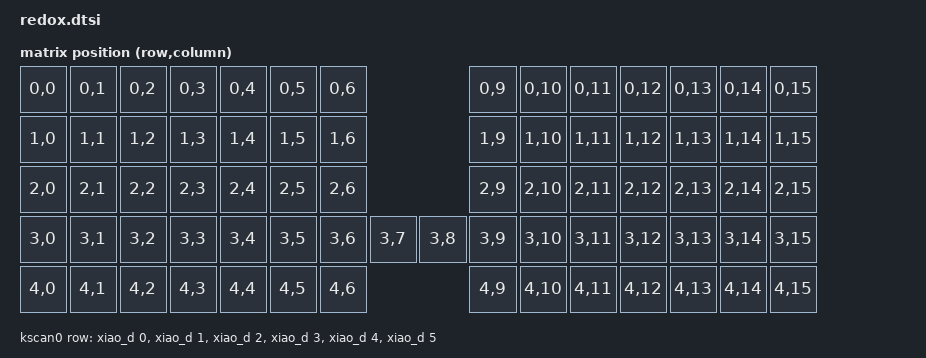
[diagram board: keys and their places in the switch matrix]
#include <dt-bindings/zmk/matrix_transform.h>
#include "redox-layouts.dtsi"

&physical_layout0 {
    transform = <&default_transform>;
};

/ {
    chosen {
        zmk,kscan = &kscan0;
        zmk,physical-layout = &physical_layout0;
    };
    
    default_transform: keymap_transform_0 {
        compatible = "zmk,matrix-transform";
        columns = <16>;
        rows = <5>;0
//      | SW16 | SW01  | SW02  | SW03  | SW04  | SW05  | SW05  |  | SW05  | SW04  | SW03  | SW02  | SW01  |
//      | SW16 | SW06  | SW07  | SW08  | SW09  | SW10  | SW05  |  | SW10  | SW09  | SW08  | SW07  | SW06  |
//      | SW16 | SW11  | SW12  | SW13  | SW14  | SW15  | SW05  |  | SW15  | SW14  | SW13  | SW12  | SW11  | SW16  |
//      | SW16 | SW11  | SW12  | SW13  | SW14  | SW15  | SW05  |  | SW15  | SW14  | SW13  | SW12  | SW11  | SW16  |
//      | SW16 | SW11  | SW12  | SW17  | SW18  | SW19  | SW05  |  | SW19  | SW18  | SW17  |
        map = <
        RC(0,0) RC(0,1) RC(0,2) RC(0,3) RC(0,4) RC(0,5) RC(0,6)                     RC(0,9) RC(0,10) RC(0,11) RC(0,12) RC(0,13) RC(0,14) RC(0,15)
        RC(1,0) RC(1,1) RC(1,2) RC(1,3) RC(1,4) RC(1,5) RC(1,6)                     RC(1,9) RC(1,10) RC(1,11) RC(1,12) RC(1,13) RC(1,14) RC(1,15)
        RC(2,0) RC(2,1) RC(2,2) RC(2,3) RC(2,4) RC(2,5) RC(2,6)                     RC(2,9) RC(2,10) RC(2,11) RC(2,12) RC(2,13) RC(2,14) RC(2,15)
        RC(3,0) RC(3,1) RC(3,2) RC(3,3) RC(3,4) RC(3,5) RC(3,6) RC(3,7)    RC(3,8)  RC(3,9) RC(3,10) RC(3,11) RC(3,12) RC(3,13) RC(3,14) RC(3,15)
        RC(4,0) RC(4,1) RC(4,2) RC(4,3) RC(4,4) RC(4,5) RC(4,6)                     RC(4,9) RC(4,10) RC(4,11) RC(4,12) RC(4,13) RC(4,14) RC(4,15)
        >;
    };

    kscan0: kscan {
        compatible = "zmk,kscan-gpio-matrix";
        diode-direction = "col4row";
        wakeup-source;

        row-gpios
            = <&xiao_d 0 (GPIO_ACTIVE_HIGH | GPIO_PULL_DOWN)>
            , <&xiao_d 1 (GPIO_ACTIVE_HIGH | GPIO_PULL_DOWN)>
            , <&xiao_d 2 (GPIO_ACTIVE_HIGH | GPIO_PULL_DOWN)>
            , <&xiao_d 3 (GPIO_ACTIVE_HIGH | GPIO_PULL_DOWN)>
            , <&xiao_d 4 (GPIO_ACTIVE_HIGH | GPIO_PULL_DOWN)>
            , <&xiao_d 5 (GPIO_ACTIVE_HIGH | GPIO_PULL_DOWN)>
            ;
    };
};
